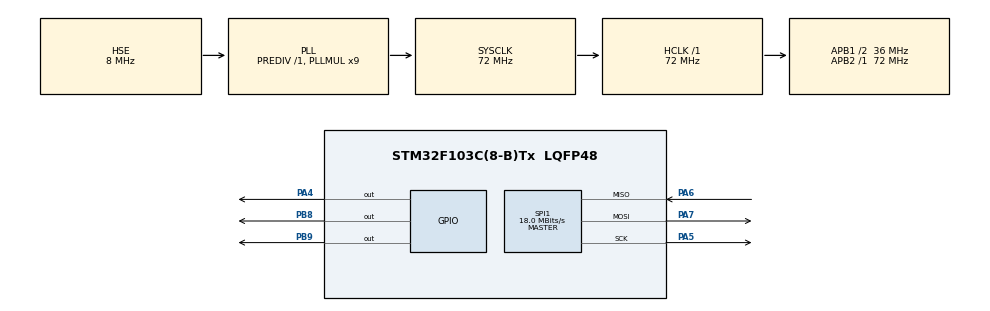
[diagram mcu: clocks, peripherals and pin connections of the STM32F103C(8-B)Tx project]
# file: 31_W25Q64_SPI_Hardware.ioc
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Mcu.Family=STM32F1
Mcu.Name=STM32F103C(8-B)Tx
Mcu.Package=LQFP48
NVIC.PriorityGroup=NVIC_PRIORITYGROUP_4
PA13.Mode=Serial_Wire
PA13.Signal=SYS_JTMS-SWDIO
PA14.Mode=Serial_Wire
PA14.Signal=SYS_JTCK-SWCLK
PA4.GPIO_PuPd=GPIO_PULLUP
PA4.PinState=GPIO_PIN_SET
PA4.Signal=GPIO_Output
PA5.Mode=Full_Duplex_Master
PA5.Signal=SPI1_SCK
PA6.Mode=Full_Duplex_Master
PA6.Signal=SPI1_MISO
PA7.Mode=Full_Duplex_Master
PA7.Signal=SPI1_MOSI
PB8.Signal=GPIO_Output
PB9.GPIO_ModeDefaultOutputPP=GPIO_MODE_OUTPUT_OD
PB9.GPIO_PuPd=GPIO_NOPULL
PB9.Signal=GPIO_Output
PD0-OSC_IN.Mode=HSE-External-Oscillator
PD0-OSC_IN.Signal=RCC_OSC_IN
PD1-OSC_OUT.Mode=HSE-External-Oscillator
PD1-OSC_OUT.Signal=RCC_OSC_OUT
ProjectManager.HeapSize=0x200
ProjectManager.StackSize=0x400
ProjectManager.TargetToolchain=MDK-ARM V5.32
RCC.AHBFreq_Value=72000000
RCC.APB1CLKDivider=RCC_HCLK_DIV2
RCC.APB1Freq_Value=36000000
RCC.APB1TimFreq_Value=72000000
RCC.APB2Freq_Value=72000000
RCC.APB2TimFreq_Value=72000000
RCC.HCLKFreq_Value=72000000
RCC.PLLMUL=RCC_PLL_MUL9
RCC.PLLSourceVirtual=RCC_PLLSOURCE_HSE
RCC.SYSCLKFreq_VALUE=72000000
RCC.SYSCLKSource=RCC_SYSCLKSOURCE_PLLCLK
RCC.USBFreq_Value=72000000
SPI1.BaudRatePrescaler=SPI_BAUDRATEPRESCALER_2
SPI1.CalculateBaudRate=18.0 MBits/s
SPI1.Direction=SPI_DIRECTION_2LINES
SPI1.Mode=SPI_MODE_MASTER
SPI1.VirtualType=VM_MASTER
board=custom

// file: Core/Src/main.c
/* USER CODE BEGIN Header */
/**
 ******************************************************************************
 * @file           : main.c
 * @brief          : Main program body
 ******************************************************************************
 * @attention
 *
 * Copyright (c) 2026 STMicroelectronics.
 * All rights reserved.
 *
 * This software is licensed under terms that can be found in the LICENSE file
 * in the root directory of this software component.
 * If no LICENSE file comes with this software, it is provided AS-IS.
 *
 ******************************************************************************
 */
/* USER CODE END Header */
#include "main.h"
#include "spi.h"
#include "gpio.h"
#include "W25Q64.h"
#include "OLED.h"

void SystemClock_Config(void);

/* USER CODE BEGIN 0 */
uint8_t MID;                                     // 厂商ID
uint16_t DID;                                    // 设备ID
uint8_t ArrayWrite[] = {0X01, 0X02, 0X03, 0X04}; // 待写入数据数组
uint8_t ArrayRead[4];                            // 待接收数据

/* USER CODE END 0 */

int main(void)
{

  /* MCU Configuration--------------------------------------------------------*/

  /* Reset of all peripherals, Initializes the Flash interface and the Systick. */
  HAL_Init();

  /* Configure the system clock */
  SystemClock_Config();

  /* Initialize all configured peripherals */
  MX_GPIO_Init();
  MX_SPI1_Init();
  /* USER CODE BEGIN 2 */
  W25Q64_Init(); // 初始化W25Q64
  OLED_Init();   // 初始化OLED显示屏

  OLED_ShowString(1, 1, "MID:    DID:"); // 显示ID标签
  OLED_ShowString(2, 1, "W");
  OLED_ShowString(3, 1, "R");

  W25Q64_ReadID(&MID, &DID);      // 读取ID
  OLED_ShowHexNum(1, 5, MID, 2);  // 显示MID
  OLED_ShowHexNum(1, 12, DID, 4); // 显示DID

  W25Q64_SectorErase(0x000000);                                 // 擦除第一个扇区
  W25Q64_PageProgram(0x000000, ArrayWrite, sizeof(ArrayWrite)); // 写入数据
  W25Q64_ReadData(0x000000, ArrayRead, sizeof(ArrayRead));      // 读取数据
  OLED_ShowHexNum(2, 3, ArrayWrite[0], 2);                      // 显示写入的数据
  OLED_ShowHexNum(2, 6, ArrayWrite[1], 2);                      // 显示写入的数据
  OLED_ShowHexNum(2, 9, ArrayWrite[2], 2);                      // 显示写入的数据
  OLED_ShowHexNum(2, 12, ArrayWrite[3], 2);                     // 显示写入的数据

  OLED_ShowHexNum(3, 3, ArrayRead[0], 2);  // 显示读取的数据
  OLED_ShowHexNum(3, 6, ArrayRead[1], 2);  // 显示读取的数据
  OLED_ShowHexNum(3, 9, ArrayRead[2], 2);  // 显示读取的数据
  OLED_ShowHexNum(3, 12, ArrayRead[3], 2); // 显示读取的数据
  /* USER CODE END 2 */

  /* Infinite loop */
  while (1)
  {

  }
}

void SystemClock_Config(void)
{
  RCC_OscInitTypeDef RCC_OscInitStruct = {0};
  RCC_ClkInitTypeDef RCC_ClkInitStruct = {0};

  /** Initializes the RCC Oscillators according to the specified parameters
   * in the RCC_OscInitTypeDef structure.
   */
  RCC_OscInitStruct.OscillatorType = RCC_OSCILLATORTYPE_HSE;
  RCC_OscInitStruct.HSEState = RCC_HSE_ON;
  RCC_OscInitStruct.HSEPredivValue = RCC_HSE_PREDIV_DIV1;
  RCC_OscInitStruct.HSIState = RCC_HSI_ON;
  RCC_OscInitStruct.PLL.PLLState = RCC_PLL_ON;
  RCC_OscInitStruct.PLL.PLLSource = RCC_PLLSOURCE_HSE;
  RCC_OscInitStruct.PLL.PLLMUL = RCC_PLL_MUL9;
  if (HAL_RCC_OscConfig(&RCC_OscInitStruct) != HAL_OK)
  {
    Error_Handler();
  }

  /** Initializes the CPU, AHB and APB buses clocks
   */
  RCC_ClkInitStruct.ClockType = RCC_CLOCKTYPE_HCLK | RCC_CLOCKTYPE_SYSCLK | RCC_CLOCKTYPE_PCLK1 | RCC_CLOCKTYPE_PCLK2;
  RCC_ClkInitStruct.SYSCLKSource = RCC_SYSCLKSOURCE_PLLCLK;
  RCC_ClkInitStruct.AHBCLKDivider = RCC_SYSCLK_DIV1;
  RCC_ClkInitStruct.APB1CLKDivider = RCC_HCLK_DIV2;
  RCC_ClkInitStruct.APB2CLKDivider = RCC_HCLK_DIV1;

  if (HAL_RCC_ClockConfig(&RCC_ClkInitStruct, FLASH_LATENCY_2) != HAL_OK)
  {
    Error_Handler();
  }
}

void Error_Handler(void)
{
  __disable_irq();
  while (1)
  {
  }
}
